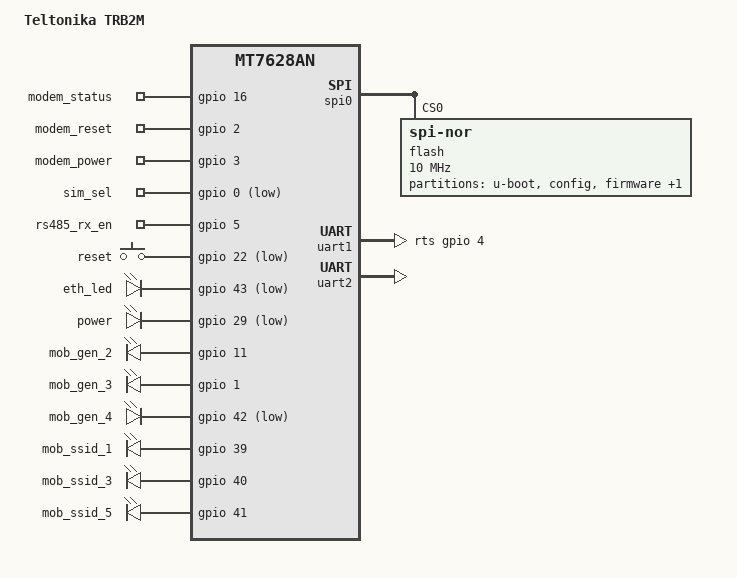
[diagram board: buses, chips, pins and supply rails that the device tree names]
// SPDX-License-Identifier: GPL-2.0-or-later OR MIT
/dts-v1/;

#include <dt-bindings/input/input.h>
#include <dt-bindings/gpio/gpio.h>
#include "mt7628an.dtsi"
#include "platform_name.dtsi"

/ {
	compatible = "teltonika,trb2m", "mediatek,mt7628an-soc";
	model = "Teltonika TRB2M";

	chosen {
		bootargs = "console=ttyS0,115200";
	};

	gpio-export {
		compatible = "gpio-export";
		#size-cells = <0>;

		gpio_modem_status {
			gpio-export,name = "modem_status";
			gpios = <&gpio 16 GPIO_ACTIVE_HIGH>;
		};

		gpio_modem_reset {
			gpio-export,name = "modem_reset";
			gpio-export,output = <0>;
			gpios = <&gpio 2 GPIO_ACTIVE_HIGH>;
		};

		gpio_modem_power {
			gpio-export,name = "modem_power";
			gpio-export,output = <0>;
			gpios = <&gpio 3 GPIO_ACTIVE_HIGH>;
		};

		gpio_sim_select {
			gpio-export,name = "sim_sel";
			gpio-export,output = <1>;
			gpios = <&gpio 0 GPIO_ACTIVE_LOW>;
		};

		gpio_rs485_rx_en {
			gpio-export,name = "rs485_rx_en";
			gpio-export,output = <0>;
			gpios = <&gpio 5 GPIO_ACTIVE_HIGH>;
		};
	};

	keys {
		compatible = "gpio-keys";

		reset {
			label = "reset";
			gpios = <&gpio 22 GPIO_ACTIVE_LOW>;
			linux,code = <KEY_RESTART>;
			debounce-interval = <60>;
		};
	};

	leds {
		compatible = "gpio-leds";

		eth_led {
			label = "eth_led";
			gpios = <&gpio 43 GPIO_ACTIVE_LOW>;
		};

		led_power {
			label = "power";
			gpios = <&gpio 29 GPIO_ACTIVE_LOW>;
			default-state = "on";
		};

		led_gen_2 {
			label = "mob_gen_2";
			gpios = <&gpio 11 GPIO_ACTIVE_HIGH>;
		};

		led_gen_3 {
			label = "mob_gen_3";
			gpios = <&gpio 1 GPIO_ACTIVE_HIGH>;
		};

		led_gen_4 {
			label = "mob_gen_4";
			gpios = <&gpio 42 GPIO_ACTIVE_LOW>;
		};

		led_ssid_1 {
			label = "mob_ssid_1";
			gpios = <&gpio 39 GPIO_ACTIVE_HIGH>;
			linux,default-trigger = "timer";
		};

		led_ssid_3 {
			label = "mob_ssid_3";
			gpios = <&gpio 40 GPIO_ACTIVE_HIGH>;
			linux,default-trigger = "timer";
		};

		led_ssid_5 {
			label = "mob_ssid_5";
			gpios = <&gpio 41 GPIO_ACTIVE_HIGH>;
			linux,default-trigger = "timer";
		};

	};

	tlt_gpios { // Modify according to wiki page "DTS syntax with Libgpiod changes"
		gpiochip_info {
			hw_0 {
				hwver = <0>;
				gpiochip_count = <3>;

				gpiochip_0 = <32>; // Built-in
				gpiochip_1 = <32>; // Built-in
				gpiochip_2 = <32>; // Built-in
			};
		};

		ioman {
			GPIO_24 {
				line_name = "GPIO_IN_1";
			};
			GPIO_44 {
				line_name = "GPIO_OUT_1";
			};
			GPIO_27 {
				line_name = "GPIO_IN_2";
			};
			GPIO_38 {
				line_name = "GPIO_OUT_2";
			};
			GPIO_14 {
				line_name = "GPIO_IN_3";
			};
			GPIO_37 {
				line_name = "GPIO_OUT_3";
			};
		};

		ledman {
			GPIO_29 {
				line_name = "LED_POWER";
				active_low;
			};
			GPIO_43 {
				line_name = "LED_ETH_GREEN_1";
				active_low;
			};
			GPIO_11 {
				line_name = "LED_TECH_GEN_2";
			};
			GPIO_1 {
				line_name = "LED_TECH_GEN_3";
			};
			GPIO_42 {
				line_name = "LED_TECH_GEN_4";
				active_low;
			};
			GPIO_39 {
				line_name = "LED_SSID_1";
			};
			GPIO_40 {
				line_name = "LED_SSID_3";
			};
			GPIO_41 {
				line_name = "LED_SSID_5";
			};
		};

		misc {
			GPIO_2 {
				line_name = "GPIO_MODEM_RESET_1";
			};
			GPIO_3 {
				line_name = "GPIO_MODEM_POWER_1";
			};
			GPIO_16 {
				line_name = "GPIO_MODEM_STATUS_1";
			};
			GPIO_0 {
				line_name = "GPIO_SIM_SELECT";
				active_low;
			};
			GPIO_5 {
				line_name = "GPIO_RS485_RX_EN";
			};
		};
	};
};

&mnfinfo {
	simpin1 {
		default = "";
	};

	simpin2 {
		default = "";
	};

	sim_count {
		default =  "2";
	};
};

&state_default {
	gpio {
		groups = "i2s", "p4led_an", "p3led_an", "p2led_an", "p1led_an", "p0led_an", "gpio", "wled_an", "perst", "refclk", "wdt", "i2c";
		function = "gpio";
	};
};

&spi0 {
	status = "okay";

	flash@0 {
		compatible = "jedec,spi-nor";
		reg = <0>;
		spi-max-frequency = <10000000>;

		partitions {
			compatible = "fixed-partitions";
			#address-cells = <1>;
			#size-cells = <1>;

			boot: partition@0 {
				label = "u-boot";
				reg = <0x0 0x20000>;
				read-only;
			};

			config: partition@20000 {
				label = "config";
				reg = <0x020000 0x010000>;
				read-only;
			};

			partition@30000 {
				compatible = "denx,uimage";
				label = "firmware";
				reg = <0x030000 0xf40000>;
			};

			partition@f70000 {
				label = "event-log";
				reg = <0xf70000 0x90000>;
			};
		};
	};
};

&ethernet {
	mtd-mac-address = <&config 0x0>;
};

&uart1 {
	status = "okay";
	linux,rs485-enabled-at-boot-time;
	rs485-rts-delay = <0 0>;
	rs485-rx-during-tx;
	rts-gpios = <&gpio 4 GPIO_ACTIVE_HIGH>;
};

&uart2 {
	status = "okay";
};
